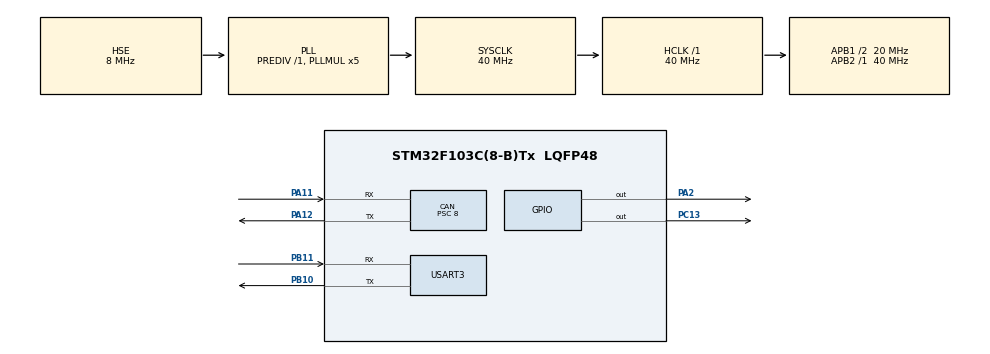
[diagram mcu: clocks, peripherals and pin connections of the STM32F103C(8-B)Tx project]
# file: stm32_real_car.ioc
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CAN.BS1=CAN_BS1_2TQ
CAN.BS2=CAN_BS2_2TQ
CAN.CalculateTimeBit=2000
CAN.CalculateTimeQuantum=400.0
CAN.NART=ENABLE
CAN.Prescaler=8
CAN.TXFP=ENABLE
FREERTOS.Tasks01=defaultTask,0,200,StartDefaultTask,Default,NULL,Dynamic,NULL,NULL
FREERTOS.configMINIMAL_STACK_SIZE=200
Mcu.Family=STM32F1
Mcu.Name=STM32F103C(8-B)Tx
Mcu.Package=LQFP48
NVIC.PriorityGroup=NVIC_PRIORITYGROUP_4
NVIC.TIM1_UP_IRQn=true\:0\:0\:false\:false\:true\:false\:false\:true
NVIC.TimeBase=TIM1_UP_IRQn
NVIC.TimeBaseIP=TIM1
NVIC.USB_LP_CAN1_RX0_IRQn=true\:13\:0\:true\:false\:true\:false\:true\:true
PA11.Mode=Master
PA11.Signal=CAN_RX
PA12.Mode=Master
PA12.Signal=CAN_TX
PA13.Mode=Serial_Wire
PA13.Signal=SYS_JTMS-SWDIO
PA14.Mode=Serial_Wire
PA14.Signal=SYS_JTCK-SWCLK
PA2.Signal=GPIO_Output
PB10.Mode=Asynchronous
PB10.Signal=USART3_TX
PB11.Mode=Asynchronous
PB11.Signal=USART3_RX
PC13-TAMPER-RTC.Signal=GPIO_Output
PD0-OSC_IN.Mode=HSE-External-Oscillator
PD0-OSC_IN.Signal=RCC_OSC_IN
PD1-OSC_OUT.Mode=HSE-External-Oscillator
PD1-OSC_OUT.Signal=RCC_OSC_OUT
ProjectManager.HeapSize=0x200
ProjectManager.StackSize=0x400
ProjectManager.TargetToolchain=STM32CubeIDE
RCC.AHBFreq_Value=40000000
RCC.APB1CLKDivider=RCC_HCLK_DIV2
RCC.APB1Freq_Value=20000000
RCC.APB1TimFreq_Value=40000000
RCC.APB2Freq_Value=40000000
RCC.APB2TimFreq_Value=40000000
RCC.HCLKFreq_Value=40000000
RCC.PLLMUL=RCC_PLL_MUL5
RCC.PLLSourceVirtual=RCC_PLLSOURCE_HSE
RCC.SYSCLKFreq_VALUE=40000000
RCC.SYSCLKSource=RCC_SYSCLKSOURCE_PLLCLK
RCC.USBFreq_Value=40000000
USART3.VirtualMode=VM_ASYNC
VP_FREERTOS_VS_CMSIS_V1.Mode=CMSIS_V1
VP_SYS_VS_tim1.Mode=TIM1
board=custom

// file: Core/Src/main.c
/* USER CODE BEGIN Header */
/**
  ******************************************************************************
  * @file           : main.c
  * @brief          : Main program body
  ******************************************************************************
  * @attention
  *
  * <h2><center>&copy; Copyright (c) 2023 STMicroelectronics.
  * All rights reserved.</center></h2>
  *
  * This software component is licensed by ST under BSD 3-Clause license,
  * the "License"; You may not use this file except in compliance with the
  * License. You may obtain a copy of the License at:
  *                        opensource.org/licenses/BSD-3-Clause
  *
  ******************************************************************************
  */
/* USER CODE END Header */
#include "main.h"
#include "cmsis_os.h"

CAN_HandleTypeDef hcan;

UART_HandleTypeDef huart3;

osThreadId defaultTaskHandle;
/* USER CODE BEGIN PV */
CAN_FilterTypeDef FilterConfig;
CAN_RxHeaderTypeDef RxHeader; //structure for message reception

/* Create semaphore for UART transmit task */
//SemaphoreHandle_t uartTransmitRequestSemaphore;

/* Create uart transmit queue */
QueueHandle_t canProcessQueue;
QueueHandle_t uartTransmitQueue;

static st_last_data_state_t st_gs_last_data_state;

/* USER CODE END PV */

void SystemClock_Config(void);
static void MX_GPIO_Init(void);
static void MX_CAN_Init(void);
static void MX_USART3_UART_Init(void);
void StartDefaultTask(void const * argument);

/* USER CODE BEGIN PFP */
void task_process_can_data(void * pvParameters);
void task_uart_tx_data(void * pvParameters);
static void helper_check_and_update_reverse_lights_based_on_transmission(uint8_t u8_a_new_transmission_value);

/* USER CODE END PFP */

/* USER CODE BEGIN 0 */

void HAL_CAN_RxFifo0MsgPendingCallback(CAN_HandleTypeDef *hcan)
{
	st_can_queued_item_t st_can_queued_item;
	BaseType_t xHigherPriorityTaskWoken = pdFALSE;

	/* check message */
	/* Read Message into local data converter rx buffer */
	HAL_CAN_GetRxMessage(hcan, CAN_RX_FIFO0, &RxHeader, st_can_queued_item.un_data_converter.RxData);

	/* store can id for further processing */
	st_can_queued_item.item_id = RxHeader.StdId;

    /* Toggle CAN RX LED */
    HAL_GPIO_TogglePin(CAN_RX_LED_ARGS);

    /* Queue can data for processing */
    xQueueSendToBackFromISR(canProcessQueue, &st_can_queued_item, &xHigherPriorityTaskWoken);

}

/* Inline helping function(s) */
static inline uint8_t app_calc_throttle_power_percentage(uint16_t u16_a_throttle_reading)
{
    uint8_t uint8_l_retval = ZERO;

    /* calculate throttle percentage */
    uint8_l_retval = (u16_a_throttle_reading * MAX_PERCENTAGE) / (THROTTLE_READING_REDUCTION_FACTOR);

    if(APP_ESP_DATA_THROTTLE_LEVEL_4_MAX < u16_a_throttle_reading)
    {
        /* invalid data range - do nothing */
    }
    else if(u16_a_throttle_reading >= APP_ESP_DATA_THROTTLE_LEVEL_4_MIN)
    {
        /* throttle level 4 (max) */
        uint8_l_retval = GENERATE_ESP_FRAME(APP_ESP_HEADER_THROTTLE, APP_ESP_DATA_THROTTLE_LEVEL_4_MAP_VAL);
    }
    else if(u16_a_throttle_reading >= APP_ESP_DATA_THROTTLE_LEVEL_3_MIN)
    {
        /* throttle level 3 (max) */
        uint8_l_retval = GENERATE_ESP_FRAME(APP_ESP_HEADER_THROTTLE, APP_ESP_DATA_THROTTLE_LEVEL_3_MAP_VAL);
    }
    else if(u16_a_throttle_reading >= APP_ESP_DATA_THROTTLE_LEVEL_2_MIN)
    {
        /* throttle level 2 (max) */
        uint8_l_retval = GENERATE_ESP_FRAME(APP_ESP_HEADER_THROTTLE, APP_ESP_DATA_THROTTLE_LEVEL_2_MAP_VAL);
    }
    else if(u16_a_throttle_reading >= APP_ESP_DATA_THROTTLE_LEVEL_1_MIN)
    {
        /* throttle level 1 (max) */
        uint8_l_retval = GENERATE_ESP_FRAME(APP_ESP_HEADER_THROTTLE, APP_ESP_DATA_THROTTLE_LEVEL_1_MAP_VAL);
    }
    else if(u16_a_throttle_reading >= APP_ESP_DATA_THROTTLE_STOP_MIN)
    {
        /* throttle stop level (min) */
        uint8_l_retval = GENERATE_ESP_FRAME(APP_ESP_HEADER_THROTTLE, APP_ESP_DATA_THROTTLE_STOP_MAP_VAL);
    }

    return uint8_l_retval;
}

static void helper_check_and_update_reverse_lights_based_on_transmission(uint8_t u8_a_new_transmission_value)
{
    uint8_t u8_l_reverse_lights = ZERO;

    if(TRANSMISSION_STATE_REVERSE == u8_a_new_transmission_value)
    {
        /* queue reverse lights */
        u8_l_reverse_lights = GENERATE_ESP_FRAME(APP_ESP_HEADER_LIGHT_REVERSE, ENABLED);
        xQueueSendToBack(uartTransmitQueue, &u8_l_reverse_lights, portMAX_DELAY);
    }
    else
    {
        /* Check if reverse lights are ON, turn them off */
        if(TRANSMISSION_STATE_REVERSE == st_gs_last_data_state.en_transmission_state)
        {
            /* queue reverse lights */
            u8_l_reverse_lights = GENERATE_ESP_FRAME(APP_ESP_HEADER_LIGHT_REVERSE, DISABLED);
            xQueueSendToBack(uartTransmitQueue, &u8_l_reverse_lights, portMAX_DELAY);
        }
        else
        {
            /* Do Nothing */
        }
    }
}

/* Map transmission state */
static inline uint8_t app_map_transmission(uint8_t u8_a_new_transmission_value)
{
    uint8_t u8_l_retval = ZERO;

    switch(u8_a_new_transmission_value)
    {
        case APP_CAR_TRANSMISSION_PARK:
        {
            if(TRANSMISSION_STATE_PARKING != st_gs_last_data_state.en_transmission_state)
            {
                /* check and update reverse lights based on new transmission value */
                helper_check_and_update_reverse_lights_based_on_transmission(TRANSMISSION_STATE_PARKING);

                /* update global state */
                st_gs_last_data_state.en_transmission_state = TRANSMISSION_STATE_PARKING;

                /* generate frame */
                u8_l_retval = GENERATE_ESP_FRAME(APP_ESP_HEADER_TRANSMISSION, SHIFT_HIGH_NIBBLE_TO_LOW(u8_a_new_transmission_value));
            }
            else
            {
                /* duplicated data - ignore */
            }

            break;
        }
        case APP_CAR_TRANSMISSION_DRIVE:
        {
            if(TRANSMISSION_STATE_DRIVE != st_gs_last_data_state.en_transmission_state)
            {
                /* check and update reverse lights based on new transmission value */
                helper_check_and_update_reverse_lights_based_on_transmission(TRANSMISSION_STATE_DRIVE);

                /* update global state */
                st_gs_last_data_state.en_transmission_state = TRANSMISSION_STATE_DRIVE;

                /* generate frame */
                u8_l_retval = GENERATE_ESP_FRAME(APP_ESP_HEADER_TRANSMISSION, SHIFT_HIGH_NIBBLE_TO_LOW(u8_a_new_transmission_value));
            }
            else
            {
                /* duplicated data - ignore */
            }

            break;
        }
        case APP_CAR_TRANSMISSION_NEUTRAL:
        {
            if(TRANSMISSION_STATE_NEUTRAL != st_gs_last_data_state.en_transmission_state)
            {
                /* check and update reverse lights based on new transmission value */
                helper_check_and_update_reverse_lights_based_on_transmission(TRANSMISSION_STATE_NEUTRAL);

                /* update global state */
                st_gs_last_data_state.en_transmission_state = TRANSMISSION_STATE_NEUTRAL;

                /* generate frame */
                u8_l_retval = GENERATE_ESP_FRAME(APP_ESP_HEADER_TRANSMISSION, SHIFT_HIGH_NIBBLE_TO_LOW(u8_a_new_transmission_value));
            }
            else
            {
                /* duplicated data - ignore */
            }

            break;
        }
        case APP_CAR_TRANSMISSION_REVERSE:
        {
            if(TRANSMISSION_STATE_REVERSE != st_gs_last_data_state.en_transmission_state)
            {
                /* check and update reverse lights based on new transmission value */
                helper_check_and_update_reverse_lights_based_on_transmission(TRANSMISSION_STATE_REVERSE);

                /* update global state */
                st_gs_last_data_state.en_transmission_state = TRANSMISSION_STATE_REVERSE;

                /* generate frame */
                u8_l_retval = GENERATE_ESP_FRAME(APP_ESP_HEADER_TRANSMISSION, SHIFT_HIGH_NIBBLE_TO_LOW(u8_a_new_transmission_value));
            }
            else
            {
                /* duplicated data - ignore */
            }

            break;
        }

        default:
        {
            /* Do Nothing */
            break;
        }
    }

    return u8_l_retval;
}

/* Map Steering Value */
static inline uint8_t app_map_steering(uint8_t u8_a_steering_val)
{
    uint8_t u8_l_retval = ZERO;

    en_steering_state_t en_l_current_steering = STEERING_STATE_NONE;

    /* check steering range */
    /* invalid boundary check */
    if(
            (u8_a_steering_val > APP_CAR_STEERING_THRESHOLD_SHARP_LEFT_MAX) ||
            (u8_a_steering_val < APP_CAR_STEERING_THRESHOLD_SHARP_RIGHT_MIN)
            )
    {
        /* Invalid data - ignore */
    }
        /* decremental steering check */
    else if(u8_a_steering_val >= APP_CAR_STEERING_THRESHOLD_SHARP_LEFT_MIN)
    {
        /* sharp left */
        en_l_current_steering = STEERING_STATE_SHARP_LEFT;
    }
    else if(u8_a_steering_val >= APP_CAR_STEERING_THRESHOLD_LEFT_MIN)
    {
        /* slight left */
        en_l_current_steering = STEERING_STATE_LEFT;
    }
    else if(u8_a_steering_val >= APP_CAR_STEERING_THRESHOLD_STRAIGHT_MIN)
    {
        /* straight - no steering */
        en_l_current_steering = STEERING_STATE_STRAIGHT;
    }
    else if(u8_a_steering_val >= APP_CAR_STEERING_THRESHOLD_RIGHT_MIN)
    {
        /* slight right */
        en_l_current_steering = STEERING_STATE_RIGHT;
    }
    else
    {
        /* sharp right */
        en_l_current_steering = STEERING_STATE_SHARP_RIGHT;
    }

    /* queue sending signal to ESP */
    if(
            (en_l_current_steering != STEERING_STATE_NONE) &&
            (en_l_current_steering != st_gs_last_data_state.en_steering_state)
            )
    {
        /* update last steering state */
        st_gs_last_data_state.en_steering_state = en_l_current_steering;

        /* send data */
        u8_l_retval = GENERATE_ESP_FRAME(APP_ESP_HEADER_STEERING, en_l_current_steering);
    }

    return u8_l_retval;
}

/* USER CODE END 0 */

int main(void)
{

  /* MCU Configuration--------------------------------------------------------*/

  /* Reset of all peripherals, Initializes the Flash interface and the Systick. */
  HAL_Init();

  /* Configure the system clock */
  SystemClock_Config();

  /* Initialize all configured peripherals */
  MX_GPIO_Init();
  MX_CAN_Init();
  MX_USART3_UART_Init();
  /* USER CODE BEGIN 2 */

//  uint8_t * namePtr = NULL;
//  namePtr = myname;

  /* USER CODE END 2 */

  /* USER CODE BEGIN RTOS_SEMAPHORES */
  /* add semaphores, ... */

  /* Create semaphore for UART transmit task */
//  uartTransmitRequestSemaphore = xSemaphoreCreateBinary();

  /* USER CODE END RTOS_SEMAPHORES */

  /* USER CODE BEGIN RTOS_QUEUES */
  /* add queues, ... */
  canProcessQueue = xQueueCreate(APP_CAN_PROCESS_QUEUE_LENGTH, sizeof(st_can_queued_item_t));
  uartTransmitQueue = xQueueCreate(APP_UART_TX_QUEUE_LENGTH, sizeof(app_uart_queue_item_t));

  /* USER CODE END RTOS_QUEUES */

  /* Create the thread(s) */
  /* definition and creation of defaultTask */
//  osThreadDef(defaultTask, StartDefaultTask, osPriorityNormal, 0, 128);
//  defaultTaskHandle = osThreadCreate(osThread(defaultTask), NULL);

  /* USER CODE BEGIN RTOS_THREADS */
  /* add threads, ... */

  xTaskCreate(task_process_can_data, "can2rc", APP_RTOS_TASK_STACK_SIZE, (void *) NULL, 0, (void *) NULL);
  xTaskCreate(task_uart_tx_data, "uart-tx", APP_RTOS_TASK_STACK_SIZE, (void *) NULL, 0, (void *) NULL);

  /* Setup default values for global variables */
    st_gs_last_data_state.en_steering_state = STEERING_STATE_NONE;
  /* USER CODE END RTOS_THREADS */

  /* Start scheduler */
  osKernelStart();

  /* We should never get here as control is now taken by the scheduler */
  /* Infinite loop */
  /* USER CODE BEGIN WHILE */
  while (1)
  {

	  /* do nothing */
    /* USER CODE END WHILE */

  }
}

void SystemClock_Config(void)
{
  RCC_OscInitTypeDef RCC_OscInitStruct = {0};
  RCC_ClkInitTypeDef RCC_ClkInitStruct = {0};

  /** Initializes the RCC Oscillators according to the specified parameters
  * in the RCC_OscInitTypeDef structure.
  */
  RCC_OscInitStruct.OscillatorType = RCC_OSCILLATORTYPE_HSE;
  RCC_OscInitStruct.HSEState = RCC_HSE_ON;
  RCC_OscInitStruct.HSEPredivValue = RCC_HSE_PREDIV_DIV1;
  RCC_OscInitStruct.HSIState = RCC_HSI_ON;
  RCC_OscInitStruct.PLL.PLLState = RCC_PLL_ON;
  RCC_OscInitStruct.PLL.PLLSource = RCC_PLLSOURCE_HSE;
  RCC_OscInitStruct.PLL.PLLMUL = RCC_PLL_MUL5;
  if (HAL_RCC_OscConfig(&RCC_OscInitStruct) != HAL_OK)
  {
    Error_Handler();
  }
  /** Initializes the CPU, AHB and APB buses clocks
  */
  RCC_ClkInitStruct.ClockType = RCC_CLOCKTYPE_HCLK|RCC_CLOCKTYPE_SYSCLK
                              |RCC_CLOCKTYPE_PCLK1|RCC_CLOCKTYPE_PCLK2;
  RCC_ClkInitStruct.SYSCLKSource = RCC_SYSCLKSOURCE_PLLCLK;
  RCC_ClkInitStruct.AHBCLKDivider = RCC_SYSCLK_DIV1;
  RCC_ClkInitStruct.APB1CLKDivider = RCC_HCLK_DIV2;
  RCC_ClkInitStruct.APB2CLKDivider = RCC_HCLK_DIV1;

  if (HAL_RCC_ClockConfig(&RCC_ClkInitStruct, FLASH_LATENCY_1) != HAL_OK)
  {
    Error_Handler();
  }
}

static void MX_CAN_Init(void)
{

  hcan.Instance = CAN1;
  hcan.Init.Prescaler = 8;
  hcan.Init.Mode = CAN_MODE_NORMAL;
  hcan.Init.SyncJumpWidth = CAN_SJW_1TQ;
  hcan.Init.TimeSeg1 = CAN_BS1_2TQ;
  hcan.Init.TimeSeg2 = CAN_BS2_2TQ;
  hcan.Init.TimeTriggeredMode = DISABLE;
  hcan.Init.AutoBusOff = DISABLE;
  hcan.Init.AutoWakeUp = DISABLE;
  hcan.Init.AutoRetransmission = ENABLE;
  hcan.Init.ReceiveFifoLocked = DISABLE;
  hcan.Init.TransmitFifoPriority = ENABLE;
  if (HAL_CAN_Init(&hcan) != HAL_OK)
  {
    Error_Handler();
  }
  /* USER CODE BEGIN CAN_Init 2 */

  /* Configure CAN Receiving Filter */
    /* set FIFO assignment */
    FilterConfig.FilterFIFOAssignment = CAN_FILTER_FIFO0;
    FilterConfig.FilterMode           = CAN_FILTERMODE_IDLIST;
    /* 0x245<<5; the ID that the filter looks for: Zero to pass all IDs */
    FilterConfig.FilterIdHigh       =   CAN_FILTER_ID_HIGH      ;
    FilterConfig.FilterIdLow        =   CAN_FILTER_ID_LOW       ;
    FilterConfig.FilterMaskIdHigh   =   CAN_FILTER_MASK_ID_HIGH ;
    FilterConfig.FilterMaskIdLow    =   CAN_FILTER_MASK_ID_LOW  ;

    /* Set Filter Scale */
    FilterConfig.FilterScale = CAN_FILTERSCALE_16BIT; //set filter scale

    /* Enable Filter */
    FilterConfig.FilterActivation = ENABLE;

    /* Configure CAN Filter */
    HAL_CAN_ConfigFilter(&hcan, &FilterConfig); //configure CAN filter

    /* Start CAN */
    HAL_CAN_Start(&hcan);

    /* Enable Rx FIFO0 Interrupt */
    HAL_CAN_ActivateNotification(&hcan, CAN_IT_RX_FIFO0_MSG_PENDING);

  /* USER CODE END CAN_Init 2 */

}

static void MX_USART3_UART_Init(void)
{

  huart3.Instance = USART3;
  huart3.Init.BaudRate = 115200;
  huart3.Init.WordLength = UART_WORDLENGTH_8B;
  huart3.Init.StopBits = UART_STOPBITS_1;
  huart3.Init.Parity = UART_PARITY_NONE;
  huart3.Init.Mode = UART_MODE_TX_RX;
  huart3.Init.HwFlowCtl = UART_HWCONTROL_NONE;
  huart3.Init.OverSampling = UART_OVERSAMPLING_16;
  if (HAL_UART_Init(&huart3) != HAL_OK)
  {
    Error_Handler();
  }

}

static void MX_GPIO_Init(void)
{
  GPIO_InitTypeDef GPIO_InitStruct = {0};

  /* GPIO Ports Clock Enable */
  __HAL_RCC_GPIOC_CLK_ENABLE();
  __HAL_RCC_GPIOD_CLK_ENABLE();
  __HAL_RCC_GPIOA_CLK_ENABLE();
  __HAL_RCC_GPIOB_CLK_ENABLE();

  /*Configure GPIO pin Output Level */
  HAL_GPIO_WritePin(GPIOC, GPIO_PIN_13, GPIO_PIN_RESET);

  /*Configure GPIO pin Output Level */
  HAL_GPIO_WritePin(GPIOA, GPIO_PIN_2, GPIO_PIN_RESET);

  /*Configure GPIO pin : PC13 */
  GPIO_InitStruct.Pin = GPIO_PIN_13;
  GPIO_InitStruct.Mode = GPIO_MODE_OUTPUT_PP;
  GPIO_InitStruct.Pull = GPIO_NOPULL;
  GPIO_InitStruct.Speed = GPIO_SPEED_FREQ_LOW;
  HAL_GPIO_Init(GPIOC, &GPIO_InitStruct);

  /*Configure GPIO pin : PA2 */
  GPIO_InitStruct.Pin = GPIO_PIN_2;
  GPIO_InitStruct.Mode = GPIO_MODE_OUTPUT_PP;
  GPIO_InitStruct.Pull = GPIO_NOPULL;
  GPIO_InitStruct.Speed = GPIO_SPEED_FREQ_LOW;
  HAL_GPIO_Init(GPIOA, &GPIO_InitStruct);

}

/* USER CODE BEGIN 4 */

void task_uart_tx_data(void * pvParameters)
{
    app_uart_queue_item_t app_uart_queue_item;

    HAL_StatusTypeDef uartTxStatus = HAL_OK;

    /* Task main loop */
    for(;;)
    {
        xQueueReceive(uartTransmitQueue, &app_uart_queue_item, portMAX_DELAY);

        /* transmit over uart */
        uartTxStatus = HAL_UART_Transmit(&huart3, &app_uart_queue_item, 1, APP_UART_TX_TIMEOUT_MS);

        if(HAL_OK == uartTxStatus)
        {
            /* Toggle UART TX LED */
            HAL_GPIO_TogglePin(UART_TX_LED_ARGS);
        }
        else
        {
            /* Do Nothing */
            /* Re-queue to front of queue */
            xQueueSendToFront(uartTransmitQueue, &app_uart_queue_item, portMAX_DELAY);
        }
    }
}

void task_process_can_data(void * pvParameters)
{
    /* Define queue item variable */
    st_can_queued_item_t st_l_can_queue_item;

    /*Define byte to be sent over UART */
    uint8_t u8_l_uart_tx_data = ZERO;

    union
    {
        uint32_t			u32_lights_val;
        st_lighting_bits_t	st_lights_bits;
    }un_l_lights_conv;

    /* Task main loop */
	for(;;)
	{
        /* reset local variables */
        u8_l_uart_tx_data = ZERO;

		/* Dequeue / block until more data is available to dequeue */
		xQueueReceive(canProcessQueue, &st_l_can_queue_item, portMAX_DELAY);

		/* Map Data */
		switch (RxHeader.StdId)
		{
			case APP_CAN_ID_THROTTLE:
			{
				/* Map throttle values to 0 -> 100% */
                u8_l_uart_tx_data = app_calc_throttle_power_percentage(st_l_can_queue_item.un_data_converter.u16_rxNumber);

                /* check not to send duplicated data */
                if(u8_l_uart_tx_data != st_gs_last_data_state.u8_throttle_val)
                {
                    st_gs_last_data_state.u8_throttle_val = u8_l_uart_tx_data;
                    /* queue data to be sent over UART */
                    xQueueSendToBack(uartTransmitQueue, &u8_l_uart_tx_data, portMAX_DELAY);
                }
                else
                {
                    /* Duplicate data - do nothing */
                }

                break;
			}
			case APP_CAN_ID_STEERING:
			{
				/* Map steering values */
				u8_l_uart_tx_data = app_map_steering(st_l_can_queue_item.un_data_converter.u8_rxNumber);

                /* Check valid mapping */
                if(APP_ESP_HEADER_STEERING == SHIFT_HIGH_NIBBLE_TO_LOW(u8_l_uart_tx_data))
                {
                    /* queue data to be sent over UART */
                    xQueueSendToBack(uartTransmitQueue, &u8_l_uart_tx_data, portMAX_DELAY);
                }
                else
                {
                    /* invalid data - do nothing */
                }

                break;
			}

			case APP_CAN_ID_LIGHTS:
			{
				/* check if there's a change */
				if(st_l_can_queue_item.un_data_converter.u32_rxNumber != st_gs_last_data_state.u32_lighting_val)
				{
					/* changed - calculate changes */
					un_l_lights_conv.u32_lights_val = GET_CHANGED_BITS(st_gs_last_data_state.u32_lighting_val,
                                                                       st_l_can_queue_item.un_data_converter.u32_rxNumber);

					/* update last state global variable */
					st_gs_last_data_state.u32_lighting_val = st_l_can_queue_item.un_data_converter.u32_rxNumber;

					/* check changed lights */

                    /* Brakes light */
					if(un_l_lights_conv.st_lights_bits.u32_brake_lights_bit)
					{
						/* brake lights state changed - toggle last state */
                        st_gs_last_data_state.st_lighting_state.bool_brake_lights = st_l_can_queue_item.un_data_converter.u8_lighting_bits.u32_brake_lights_bit;

                        if(TRUE == st_gs_last_data_state.st_lighting_state.bool_brake_lights)
                        {
                            st_gs_last_data_state.u8_throttle_val = GENERATE_ESP_FRAME(APP_ESP_HEADER_THROTTLE, APP_ESP_DATA_THROTTLE_STOP_MAP_VAL);
                        }
                        else
                        {
                            /* Keep last throttle value in memory */
                        }

						/* queue to ESP */
						u8_l_uart_tx_data = GENERATE_ESP_FRAME(APP_ESP_HEADER_LIGHT_BRAKES, st_gs_last_data_state.st_lighting_state.bool_brake_lights);

                        xQueueSendToBack(uartTransmitQueue, &u8_l_uart_tx_data, portMAX_DELAY);
					}
                    /* Left Indicator */
					if(un_l_lights_conv.st_lights_bits.u32_left_indicator_bit)
					{
						/* left indicator lights state changed - toggle last state */
                        st_gs_last_data_state.st_lighting_state.bool_left_indicator = st_l_can_queue_item.un_data_converter.u8_lighting_bits.u32_left_indicator_bit;

                        /* queue to ESP */
                        u8_l_uart_tx_data = GENERATE_ESP_FRAME(APP_ESP_HEADER_LIGHT_L_INDICATORS, st_gs_last_data_state.st_lighting_state.bool_left_indicator);
                        xQueueSendToBack(uartTransmitQueue, &u8_l_uart_tx_data, portMAX_DELAY);
					}
                    /* Right Indicator */
					if(un_l_lights_conv.st_lights_bits.u32_right_indicator_bit)
					{
						/* right indicator lights state changed - update last state */
                        st_gs_last_data_state.st_lighting_state.bool_right_indicator = st_l_can_queue_item.un_data_converter.u8_lighting_bits.u32_right_indicator_bit;

                        /* queue to ESP */
                        u8_l_uart_tx_data = GENERATE_ESP_FRAME(APP_ESP_HEADER_LIGHT_R_INDICATORS, st_gs_last_data_state.st_lighting_state.bool_right_indicator);
                        xQueueSendToBack(uartTransmitQueue, &u8_l_uart_tx_data, portMAX_DELAY);
                    }
                    /* Front Lights */
					if(un_l_lights_conv.st_lights_bits.u32_front_light_bit)
					{
						/* front lights state changed - update last state */
						st_gs_last_data_state.st_lighting_state.bool_front_lights = st_l_can_queue_item.un_data_converter.u8_lighting_bits.u32_front_light_bit;

                        /* queue to ESP */
                        u8_l_uart_tx_data = GENERATE_ESP_FRAME(APP_ESP_HEADER_LIGHT_FRONT, st_gs_last_data_state.st_lighting_state.bool_front_lights);
                        xQueueSendToBack(uartTransmitQueue, &u8_l_uart_tx_data, portMAX_DELAY);
                    }

				}
				else
				{
					/* no change - do nothing */
				}

				break;
			}
			case APP_CAN_ID_TRANSMISSION:
			{
				/* check transmission state */
				u8_l_uart_tx_data = app_map_transmission(st_l_can_queue_item.un_data_converter.u8_rxNumber);

                /* check valid mapping */
                if(SHIFT_HIGH_NIBBLE_TO_LOW(u8_l_uart_tx_data) == APP_ESP_HEADER_TRANSMISSION)
                {
                    /* queue data to be sent over UART */
                    xQueueSendToBack(uartTransmitQueue, &u8_l_uart_tx_data, portMAX_DELAY);
                }
                else
                {
                    /* Do Nothing */
                }
				break;
			}

			default:
			{
				/* Do Nothing */
				break;
			}
		}
	}
}

/* USER CODE END 4 */

void StartDefaultTask(void const * argument)
{
  for(;;)
  {
    osDelay(1);
  }
}

void HAL_TIM_PeriodElapsedCallback(TIM_HandleTypeDef *htim)
{
  if (htim->Instance == TIM1) {
    HAL_IncTick();
  }
}

void Error_Handler(void)
{
}

/************************ (C) COPYRIGHT STMicroelectronics *****END OF FILE****/
